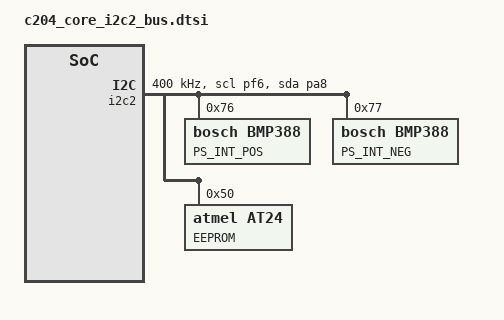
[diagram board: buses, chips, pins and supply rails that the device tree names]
/*
 * Copyright (c) 2022 Acme CPU
 *
 * C204 I2C2 bus has
 *		- S201 PCB (2 x bmp388)
 *		- eeprom 24aa00t 
 */


&i2c2 {
	status = "okay";
	pinctrl-0 = <&i2c2_scl_pf6 &i2c2_sda_pa8>;
	pinctrl-names = "default";
	clock-frequency = <I2C_BITRATE_FAST>;
/*
  compatible = "st,stm32-i2c-dma-v2";
  dmas = <&dma1 0 0 0x0 0x0>,
	 <&dma1 0 0 0x0 0x0>;
  dma-names = "tx","rx";
  dma-label-tx = "DMA_TX_I2C_3";
  dma-label-rx = "DMA_RX_I2C_3";
*/

	p121_ps: bmp388@76 {
		compatible = "bosch,bmp388";
    	reg = <0x76>;
    	label = "PS_INT_POS";
    	odr = "25";			/* data rate = 25Hz */
    	osr-press = <1>;	/* pressure oversampling = No */
    	osr-temp = <1>;		/* temperature oversampling = No */
    	iir-filter = <0>;	/* iir filter = default val */
	};

	p122_ps: bmp388@77 {
    	compatible = "bosch,bmp388";
    	reg = <0x77>;
    	label = "PS_INT_NEG";
    	odr = "25";			/* data rate = 25Hz */
    	osr-press = <1>;	/* pressure oversampling = No */
    	osr-temp = <1>;		/* temperature oversampling = No */
    	iir-filter = <0>;	/* iir filter = default val */
	};

	p105_eeprom: 24aa00t@50 {
		compatible = "atmel,at24";
		reg = <0x50>;
		label = "EEPROM";
		size = <16>;
		pagesize = <1>;
		address-width = <8>;
		timeout = <10>;
	};
};
